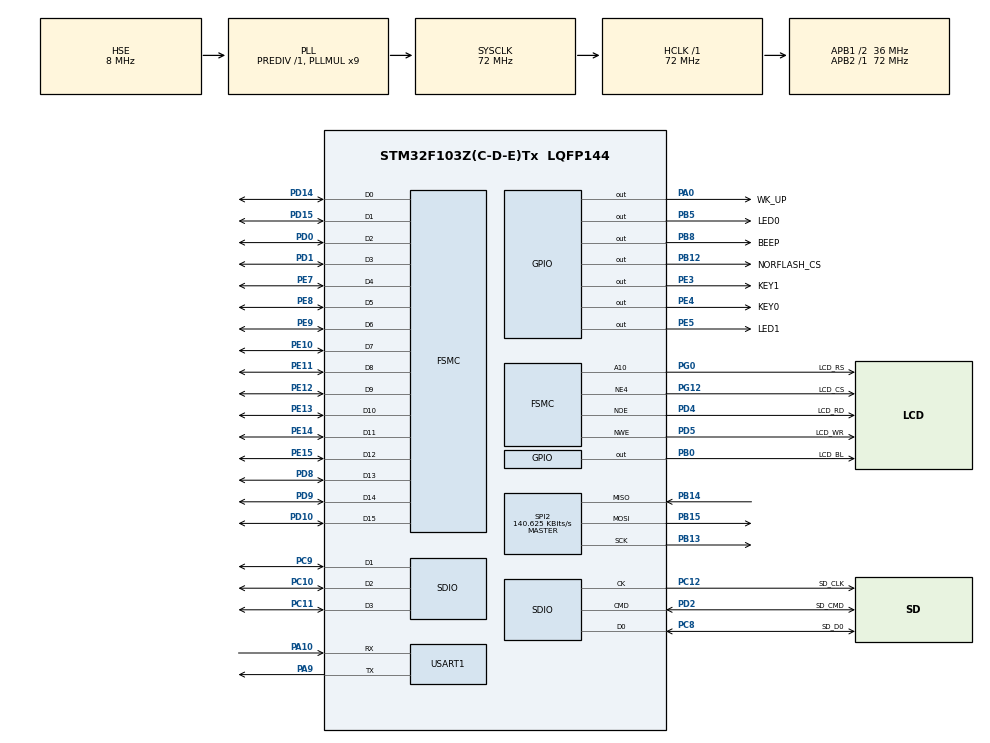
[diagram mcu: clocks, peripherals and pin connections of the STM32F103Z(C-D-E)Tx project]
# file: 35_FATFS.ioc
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FATFS._CODE_PAGE=936
FATFS._FS_LOCK=0
FATFS._LFN_UNICODE=0
FATFS._MAX_SS=512
FATFS._STRF_ENCODE=0
FATFS._USE_LABEL=1
FATFS._USE_LFN=3
FATFS._VOLUMES=2
FSMC.AddressSetupTime1=0
FSMC.BusTurnAroundDuration1=15
FSMC.DataSetupTime1=15
FSMC.ExtendedAddressSetupTime1=0
FSMC.ExtendedDataSetupTime1=1
FSMC.ExtendedMode1=FSMC_EXTENDED_MODE_ENABLE
Mcu.Family=STM32F1
Mcu.Name=STM32F103Z(C-D-E)Tx
Mcu.Package=LQFP144
NVIC.PriorityGroup=NVIC_PRIORITYGROUP_2
NVIC.TIM4_IRQn=true\:2\:2\:true\:false\:true\:true\:true\:true
NVIC.USART1_IRQn=true\:2\:2\:true\:false\:true\:true\:true\:true
OSC_IN.Mode=HSE-External-Oscillator
OSC_IN.Signal=RCC_OSC_IN
OSC_OUT.Mode=HSE-External-Oscillator
OSC_OUT.Signal=RCC_OSC_OUT
PA0-WKUP.GPIO_Label=WK_UP
PA0-WKUP.GPIO_PuPd=GPIO_PULLDOWN
PA0-WKUP.GPIO_Speed=GPIO_SPEED_FREQ_HIGH
PA0-WKUP.PinState=GPIO_PIN_RESET
PA0-WKUP.Signal=GPIO_Output
PA10.Mode=Asynchronous
PA10.Signal=USART1_RX
PA13.Mode=Serial_Wire
PA13.Signal=SYS_JTMS-SWDIO
PA14.Mode=Serial_Wire
PA14.Signal=SYS_JTCK-SWCLK
PA9.Mode=Asynchronous
PA9.Signal=USART1_TX
PB0.GPIO_Label=LCD_BL
PB0.GPIO_PuPd=GPIO_PULLUP
PB0.GPIO_Speed=GPIO_SPEED_FREQ_HIGH
PB0.PinState=GPIO_PIN_SET
PB0.Signal=GPIO_Output
PB12.GPIO_Label=NORFLASH_CS
PB12.GPIO_PuPd=GPIO_PULLUP
PB12.GPIO_Speed=GPIO_SPEED_FREQ_HIGH
PB12.PinState=GPIO_PIN_SET
PB12.Signal=GPIO_Output
PB13.Mode=Full_Duplex_Master
PB13.Signal=SPI2_SCK
PB14.Mode=Full_Duplex_Master
PB14.Signal=SPI2_MISO
PB15.Mode=Full_Duplex_Master
PB15.Signal=SPI2_MOSI
PB5.GPIO_Label=LED0
PB5.GPIO_PuPd=GPIO_PULLUP
PB5.GPIO_Speed=GPIO_SPEED_FREQ_HIGH
PB5.PinState=GPIO_PIN_SET
PB5.Signal=GPIO_Output
PB8.GPIO_Label=BEEP
PB8.GPIO_ModeDefaultOutputPP=GPIO_MODE_OUTPUT_PP
PB8.GPIO_PuPd=GPIO_PULLDOWN
PB8.GPIO_Speed=GPIO_SPEED_FREQ_HIGH
PB8.PinState=GPIO_PIN_RESET
PB8.Signal=GPIO_Output
PC10.Mode=SD_4_bits_Wide_bus
PC10.Signal=SDIO_D2
PC11.Mode=SD_4_bits_Wide_bus
PC11.Signal=SDIO_D3
PC12.GPIO_Label=SD_CLK
PC12.Mode=SD_4_bits_Wide_bus
PC12.Signal=SDIO_CK
PC14-OSC32_IN.Mode=LSE-External-Oscillator
PC14-OSC32_IN.Signal=RCC_OSC32_IN
PC15-OSC32_OUT.Mode=LSE-External-Oscillator
PC15-OSC32_OUT.Signal=RCC_OSC32_OUT
PC8.GPIO_Label=SD_D0
PC8.Mode=SD_4_bits_Wide_bus
PC8.Signal=SDIO_D0
PC9.Mode=SD_4_bits_Wide_bus
PC9.Signal=SDIO_D1
PD0.Signal=FSMC_D2_DA2
PD1.Signal=FSMC_D3_DA3
PD10.Signal=FSMC_D15_DA15
PD14.Signal=FSMC_D0_DA0
PD15.Signal=FSMC_D1_DA1
PD2.GPIO_Label=SD_CMD
PD2.Mode=SD_4_bits_Wide_bus
PD2.Signal=SDIO_CMD
PD4.GPIO_Label=LCD_RD
PD4.Signal=FSMC_NOE
PD5.GPIO_Label=LCD_WR
PD5.Signal=FSMC_NWE
PD8.Signal=FSMC_D13_DA13
PD9.Signal=FSMC_D14_DA14
PE10.Signal=FSMC_D7_DA7
PE11.Signal=FSMC_D8_DA8
PE12.Signal=FSMC_D9_DA9
PE13.Signal=FSMC_D10_DA10
PE14.Signal=FSMC_D11_DA11
PE15.Signal=FSMC_D12_DA12
PE3.GPIO_Label=KEY1
PE3.GPIO_PuPd=GPIO_PULLUP
PE3.GPIO_Speed=GPIO_SPEED_FREQ_HIGH
PE3.PinState=GPIO_PIN_SET
PE3.Signal=GPIO_Output
PE4.GPIO_Label=KEY0
PE4.GPIO_PuPd=GPIO_PULLUP
PE4.GPIO_Speed=GPIO_SPEED_FREQ_HIGH
PE4.PinState=GPIO_PIN_SET
PE4.Signal=GPIO_Output
PE5.GPIO_Label=LED1
PE5.GPIO_PuPd=GPIO_PULLUP
PE5.GPIO_Speed=GPIO_SPEED_FREQ_HIGH
PE5.PinState=GPIO_PIN_SET
PE5.Signal=GPIO_Output
PE7.Signal=FSMC_D4_DA4
PE8.Signal=FSMC_D5_DA5
PE9.Signal=FSMC_D6_DA6
PG0.GPIO_Label=LCD_RS
PG0.Signal=FSMC_A10
PG12.GPIO_Label=LCD_CS
PG12.Mode=NorPsramChipSelect4_1
PG12.Signal=FSMC_NE4
ProjectManager.HeapSize=0x1000
ProjectManager.StackSize=0x400
ProjectManager.TargetToolchain=STM32CubeIDE
RCC.AHBFreq_Value=72000000
RCC.APB1CLKDivider=RCC_HCLK_DIV2
RCC.APB1Freq_Value=36000000
RCC.APB1TimFreq_Value=72000000
RCC.APB2Freq_Value=72000000
RCC.APB2TimFreq_Value=72000000
RCC.HCLKFreq_Value=72000000
RCC.PLLMUL=RCC_PLL_MUL9
RCC.PLLSourceVirtual=RCC_PLLSOURCE_HSE
RCC.SYSCLKFreq_VALUE=72000000
RCC.SYSCLKSource=RCC_SYSCLKSOURCE_PLLCLK
RCC.USBFreq_Value=72000000
SDIO.ClockDiv=0x06
SDIO.HardwareFlowControl=SDIO_HARDWARE_FLOW_CONTROL_ENABLE
SH.FSMC_A10.0=FSMC_A10,A10_1
SH.FSMC_D0_DA0.0=FSMC_D0,16b-d1
SH.FSMC_D10_DA10.0=FSMC_D10,16b-d1
SH.FSMC_D11_DA11.0=FSMC_D11,16b-d1
SH.FSMC_D12_DA12.0=FSMC_D12,16b-d1
SH.FSMC_D13_DA13.0=FSMC_D13,16b-d1
SH.FSMC_D14_DA14.0=FSMC_D14,16b-d1
SH.FSMC_D15_DA15.0=FSMC_D15,16b-d1
SH.FSMC_D1_DA1.0=FSMC_D1,16b-d1
SH.FSMC_D2_DA2.0=FSMC_D2,16b-d1
SH.FSMC_D3_DA3.0=FSMC_D3,16b-d1
SH.FSMC_D4_DA4.0=FSMC_D4,16b-d1
SH.FSMC_D5_DA5.0=FSMC_D5,16b-d1
SH.FSMC_D6_DA6.0=FSMC_D6,16b-d1
SH.FSMC_D7_DA7.0=FSMC_D7,16b-d1
SH.FSMC_D8_DA8.0=FSMC_D8,16b-d1
SH.FSMC_D9_DA9.0=FSMC_D9,16b-d1
SH.FSMC_NOE.0=FSMC_NOE,Lcd1
SH.FSMC_NWE.0=FSMC_NWE,Lcd1
SPI2.BaudRatePrescaler=SPI_BAUDRATEPRESCALER_256
SPI2.CLKPhase=SPI_PHASE_2EDGE
SPI2.CLKPolarity=SPI_POLARITY_HIGH
SPI2.CalculateBaudRate=140.625 KBits/s
SPI2.Direction=SPI_DIRECTION_2LINES
SPI2.Mode=SPI_MODE_MASTER
SPI2.VirtualType=VM_MASTER
TIM4.AutoReloadPreload=TIM_AUTORELOAD_PRELOAD_ENABLE
TIM4.Period=1000 - 1
TIM4.Prescaler=720 - 1
USART1.VirtualMode=VM_ASYNC
VP_FATFS_VS_Generic.Mode=User_defined
VP_TIM4_VS_ClockSourceINT.Mode=Internal
board=custom

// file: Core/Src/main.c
/* USER CODE BEGIN Header */
/**
 ****************************************************************************************************
 * @file        main.c
 * @author      正点原子团队(ALIENTEK)
 * @version     V1.0
 * @date        2024-01-01
 * @brief       FATFS 实验
 * @license     Copyright (c) 2020-2032, 广州市星翼电子科技有限公司
 ****************************************************************************************************
 * @attention
 *
 * 实验平台:正点原子 STM32F103开发板
 * 在线视频:www.yuanzige.com
 * 技术论坛:www.openedv.com
 * 公司网址:www.alientek.com
 * 购买地址:openedv.taobao.com
 *
 ****************************************************************************************************
 */
/* USER CODE END Header */
#include "main.h"
#include "fatfs.h"
#include "sdio.h"
#include "spi.h"
#include "tim.h"
#include "usart.h"
#include "gpio.h"
#include "fsmc.h"

/* USER CODE BEGIN Includes */
#include "../../BSP/LED/led.h"
#include "../../BSP/KEY/key.h"
#include "../../BSP/LCD/lcd.h"
#include "../../BSP/NORFLASH/norflash.h"
#include "../../SYSTEM/delay/delay.h"
#include "../../ATK_Middlewares/MALLOC/malloc.h"
#include "../../FatFs/exfuns/exfuns.h"
#include "ff.h"
/* USER CODE END Includes */

/* USER CODE BEGIN PTD */
extern uint8_t g_sd_sta;
/* USER CODE END PTD */

/* USER CODE BEGIN PD */
uint8_t read_buf[50] = {0};
uint8_t write_buf[50] = "Hello test demo";

/* USER CODE END PD */

void SystemClock_Config(void);

int main(void)
{
  /* USER CODE BEGIN 1 */
    uint32_t total, free;
    uint8_t t = 0, key = 0;
    UINT bw = 0, br = 0;
    uint8_t res = 0;
    FIL *f_fil;
  /* USER CODE END 1 */

  /* MCU Configuration--------------------------------------------------------*/

  /* Reset of all peripherals, Initializes the Flash interface and the Systick. */
  HAL_Init();

  /* Configure the system clock */
  SystemClock_Config();

  /* USER CODE BEGIN SysInit */
  delay_init(72);						   	/* 初始化延时函数 */
  /* USER CODE END SysInit */

  /* Initialize all configured peripherals */
  MX_GPIO_Init();
  MX_FSMC_Init();
  MX_USART1_UART_Init();
  MX_SDIO_SD_Init();
//  MX_FATFS_Init();
  MX_SPI2_Init();
  MX_TIM4_Init();
  /* USER CODE BEGIN 2 */
  lcd_init();                         		/* 初始化LCD */
  norflash_init();                    		/* 初始化NORFLASH */
  my_mem_init(SRAMIN);               		/* 初始化内部SRAM内存池 */
  lcd_show_string(30,  50, 200, 16, 16, "STM32", RED);
  lcd_show_string(30,  70, 200, 16, 16, "FATFS TEST", RED);
  lcd_show_string(30,  90, 200, 16, 16, "ATOM@ALIENTEK", RED);
  lcd_show_string(30, 110, 200, 16, 16, "Use USMART for test", RED);
  while (g_sd_sta == 1) 					/* 检测不到SD卡 */
  {
	  g_sd_sta = 0;
	  MX_SDIO_SD_Init();
      lcd_show_string(30, 130, 200, 16, 16, "SD Card Error!", RED);
      delay_ms(500);
      lcd_show_string(30, 130, 200, 16, 16, "Please Check! ", RED);
      delay_ms(500);
      LED0_TOGGLE(); /* LED0闪烁 */
  }
  exfuns_init();                 		/* 为fatfs相关变量申请内存 */

  f_mount(fs[0], "0:", 1);       		/* 挂载SD卡 */
  res = f_mount(fs[1], "1:", 1);       	/* 挂载SPI_FLASH卡 */
  if (res == FR_NO_FILESYSTEM)			/* FLASH磁盘,FAT文件系统错误,重新格式化FLASH */
  {
	  lcd_show_string(30, 130, 200, 16, 16, "Flash Disk Formatting...", RED); /* 格式化FLASH */
	  res = f_mkfs("1:", 0, _MAX_SS);                                    	  /* 格式化FLASH,1:,盘符;0,使用默认格式化参数 */

	  if (res == 0)
	  {
		  f_setlabel((const TCHAR *)"1:ALIENTEK");                                /* 设置Flash磁盘的名字为：ALIENTEK */
		  lcd_show_string(30, 130, 200, 16, 16, "Flash Disk Format Finish", RED); /* 格式化完成 */
	  }
	  else
	  {
		  lcd_show_string(30, 130, 200, 16, 16, "Flash Disk Format Error ", RED); /* 格式化失败 */
	  }

	  delay_ms(1000);
  }

  lcd_fill(30, 130, 240, 150 + 16, WHITE);    /* 清除显示 */
  while (exfuns_get_free((uint8_t*)"0", &total, &free)) /* 得到SD卡的总容量和剩余容量 */
  {
      lcd_show_string(30, 130, 200, 16, 16, "SD Card Fatfs Error!", RED);
      delay_ms(200);
      lcd_fill(30, 130, 240, 150 + 16, WHITE); /* 清除显示 */
      delay_ms(200);
      LED0_TOGGLE(); /* LED0闪烁 */
  }
  lcd_show_string(30, 130, 200, 16, 16, "FATFS OK!", BLUE);
  lcd_show_string(30, 150, 200, 16, 16, "SD Total Size:     MB", BLUE);
  lcd_show_string(30, 170, 200, 16, 16, "SD  Free Size:     MB", BLUE);
  lcd_show_num(30 + 8 * 14, 150, total >> 10, 5, 16, BLUE);               /* 显示SD卡总容量 MB */
  lcd_show_num(30 + 8 * 14, 170, free >> 10, 5, 16, BLUE);                /* 显示SD卡剩余容量 MB */

  f_fil = (FIL *)mymalloc(SRAMIN, sizeof(f_fil));      		/* 为file申请内存 */
  if (f_fil == NULL)                                      	/* 内存申请失败 */
  {
	  myfree(SRAMIN, f_fil);
  }
  printf("文件系统挂载成功\r\n");
  printf("************ 即将进行文件读写测试 ************\r\n");

  /* USER CODE END 2 */

  /* Infinite loop */
  /* USER CODE BEGIN WHILE */
  while (1)
  {
	  /*------------------- 文件系统测试：读写测试 ---------------------*/
	 key = key_scan(0);
	 if(key == KEY0_PRES)
	 {
		 res = f_open(f_fil, "1:test.txt", FA_OPEN_ALWAYS | FA_WRITE | FA_READ);/* 打开文件，没有文件就创建新文件 */
		 if(res == FR_OK)
		 {
			 f_lseek (f_fil, 0);			/* 偏移到初始位置写数据 */
			 res = f_write(f_fil, write_buf, sizeof(write_buf), &bw);
			 if(res == FR_OK)
			 {
				 printf("数据写入成功！！\r\n");
				 lcd_show_string(30, 190, 200, 16, 16, "write OK", BLUE);
			 }
		 }else
		 {
			 lcd_show_string(30, 190, 200, 16, 16, "read and write Error", BLUE);
		 }
	 }else if(key == KEY1_PRES)
	 {
		 f_lseek (f_fil, 0);				/* 偏移到初始位置读数据 */
		 res = f_read(f_fil, read_buf, sizeof(read_buf), &br);
		 lcd_show_string(30, 210, 200, 16, 16, (char *)read_buf, BLUE);
		 printf("读取到的数据位：%s\r\n",read_buf);
		 printf("读取字节数据：%d\r\n", br);
		 f_close(f_fil);
	 }

	  t++;
	  if(t % 20 == 0)
	  {
		  LED0_TOGGLE(); /* LED0闪烁 */
	  }
	  delay_ms(10);

    /* USER CODE END WHILE */

  }
}

void SystemClock_Config(void)
{
  RCC_OscInitTypeDef RCC_OscInitStruct = {0};
  RCC_ClkInitTypeDef RCC_ClkInitStruct = {0};

  /** Initializes the RCC Oscillators according to the specified parameters
  * in the RCC_OscInitTypeDef structure.
  */
  RCC_OscInitStruct.OscillatorType = RCC_OSCILLATORTYPE_HSE;
  RCC_OscInitStruct.HSEState = RCC_HSE_ON;
  RCC_OscInitStruct.HSEPredivValue = RCC_HSE_PREDIV_DIV1;
  RCC_OscInitStruct.HSIState = RCC_HSI_ON;
  RCC_OscInitStruct.PLL.PLLState = RCC_PLL_ON;
  RCC_OscInitStruct.PLL.PLLSource = RCC_PLLSOURCE_HSE;
  RCC_OscInitStruct.PLL.PLLMUL = RCC_PLL_MUL9;
  if (HAL_RCC_OscConfig(&RCC_OscInitStruct) != HAL_OK)
  {
    Error_Handler();
  }

  /** Initializes the CPU, AHB and APB buses clocks
  */
  RCC_ClkInitStruct.ClockType = RCC_CLOCKTYPE_HCLK|RCC_CLOCKTYPE_SYSCLK
                              |RCC_CLOCKTYPE_PCLK1|RCC_CLOCKTYPE_PCLK2;
  RCC_ClkInitStruct.SYSCLKSource = RCC_SYSCLKSOURCE_PLLCLK;
  RCC_ClkInitStruct.AHBCLKDivider = RCC_SYSCLK_DIV1;
  RCC_ClkInitStruct.APB1CLKDivider = RCC_HCLK_DIV2;
  RCC_ClkInitStruct.APB2CLKDivider = RCC_HCLK_DIV1;

  if (HAL_RCC_ClockConfig(&RCC_ClkInitStruct, FLASH_LATENCY_2) != HAL_OK)
  {
    Error_Handler();
  }
}

void Error_Handler(void)
{
  __disable_irq();
  while (1)
  {
  }
}
